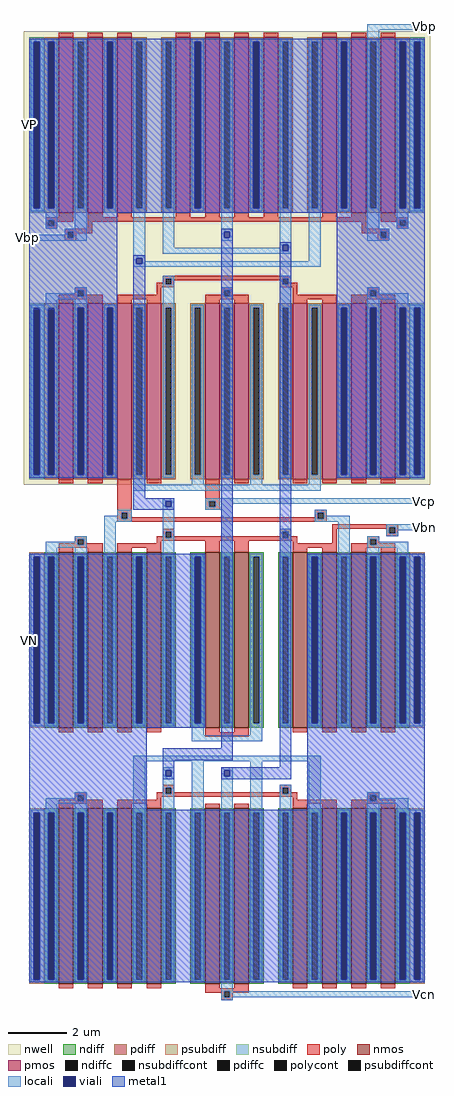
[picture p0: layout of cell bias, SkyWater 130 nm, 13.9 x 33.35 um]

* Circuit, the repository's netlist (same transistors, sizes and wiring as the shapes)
* SPICE3 file created from /home/madvlsi/Desktop/madvlsi/MP3/layout/bias.ext - technology: sky130A

.subckt home/madvlsi/Desktop/madvlsi/MP3/layout/bias VP VN Vcn Vbn Vcp Vbp
X0 a_600_1450# a_500_1420# VN VN sky130_fd_pr__nfet_01v8 ad=1.2e+13p pd=5.2e+07u as=4.2e+13p ps=1.82e+08u w=6e+06u l=500000u
X1 Vbn Vbn VN VN sky130_fd_pr__nfet_01v8 ad=6e+12p pd=2.6e+07u as=0p ps=0u w=6e+06u l=500000u
X2 a_600_4900# Vcp Vcp VP sky130_fd_pr__pfet_01v8 ad=1.2e+13p pd=5.2e+07u as=3e+12p ps=1.3e+07u w=6e+06u l=500000u
X3 VP VP VP VP sky130_fd_pr__pfet_01v8 ad=3.6e+13p pd=1.56e+08u as=0p ps=0u w=6e+06u l=500000u
X4 a_600_1450# a_500_1420# a_500_1420# VN sky130_fd_pr__nfet_01v8 ad=0p pd=0u as=6e+12p ps=2.6e+07u w=6e+06u l=500000u
X5 VP Vbp Vbp VP sky130_fd_pr__pfet_01v8 ad=0p pd=0u as=6e+12p ps=2.6e+07u w=6e+06u l=500000u
X6 a_400_3200# a_400_3200# a_600_4900# VP sky130_fd_pr__pfet_01v8 ad=6e+12p pd=2.6e+07u as=0p ps=0u w=6e+06u l=500000u
X7 a_400_3200# Vbn VN VN sky130_fd_pr__nfet_01v8 ad=6e+12p pd=2.6e+07u as=0p ps=0u w=6e+06u l=500000u
X8 Vcp Vbn VN VN sky130_fd_pr__nfet_01v8 ad=3e+12p pd=1.3e+07u as=0p ps=0u w=6e+06u l=500000u
X9 VN VN a_400_3200# VN sky130_fd_pr__nfet_01v8 ad=0p pd=0u as=0p ps=0u w=6e+06u l=500000u
X10 VN VN VN VN sky130_fd_pr__nfet_01v8 ad=0p pd=0u as=0p ps=0u w=6e+06u l=500000u
X11 Vcn Vbp VP VP sky130_fd_pr__pfet_01v8 ad=6e+12p pd=2.6e+07u as=0p ps=0u w=6e+06u l=500000u
X12 VP a_400_3200# a_600_4900# VP sky130_fd_pr__pfet_01v8 ad=0p pd=0u as=0p ps=0u w=6e+06u l=500000u
X13 Vcp Vcp a_600_4900# VP sky130_fd_pr__pfet_01v8 ad=0p pd=0u as=0p ps=0u w=6e+06u l=500000u
X14 VN Vbn a_400_3200# VN sky130_fd_pr__nfet_01v8 ad=0p pd=0u as=0p ps=0u w=6e+06u l=500000u
X15 VP VP VP VP sky130_fd_pr__pfet_01v8 ad=0p pd=0u as=0p ps=0u w=6e+06u l=500000u
X16 VP Vbp Vcn VP sky130_fd_pr__pfet_01v8 ad=0p pd=0u as=0p ps=0u w=6e+06u l=500000u
X17 Vbp VP VP VP sky130_fd_pr__pfet_01v8 ad=0p pd=0u as=0p ps=0u w=6e+06u l=500000u
X18 a_600_4900# a_400_3200# VP VP sky130_fd_pr__pfet_01v8 ad=0p pd=0u as=0p ps=0u w=6e+06u l=500000u
X19 VN Vbn Vbn VN sky130_fd_pr__nfet_01v8 ad=0p pd=0u as=0p ps=0u w=6e+06u l=500000u
X20 VP Vbp a_500_1420# VP sky130_fd_pr__pfet_01v8 ad=0p pd=0u as=3e+12p ps=1.3e+07u w=6e+06u l=500000u
X21 a_600_4900# a_400_3200# a_400_3200# VP sky130_fd_pr__pfet_01v8 ad=0p pd=0u as=0p ps=0u w=6e+06u l=500000u
X22 VN VN VN VN sky130_fd_pr__nfet_01v8 ad=0p pd=0u as=0p ps=0u w=6e+06u l=500000u
X23 a_400_3200# VN VN VN sky130_fd_pr__nfet_01v8 ad=0p pd=0u as=0p ps=0u w=6e+06u l=500000u
X24 VP VP Vbp VP sky130_fd_pr__pfet_01v8 ad=0p pd=0u as=0p ps=0u w=6e+06u l=500000u
X25 a_600_1450# Vcn Vcn VN sky130_fd_pr__nfet_01v8 ad=0p pd=0u as=3e+12p ps=1.3e+07u w=6e+06u l=500000u
X26 VP VP VP VP sky130_fd_pr__pfet_01v8 ad=0p pd=0u as=0p ps=0u w=6e+06u l=500000u
X27 VN VN VN VN sky130_fd_pr__nfet_01v8 ad=0p pd=0u as=0p ps=0u w=6e+06u l=500000u
X28 VP Vbp Vbn VP sky130_fd_pr__pfet_01v8 ad=0p pd=0u as=6e+12p ps=2.6e+07u w=6e+06u l=500000u
X29 a_500_1420# a_500_1420# a_600_1450# VN sky130_fd_pr__nfet_01v8 ad=0p pd=0u as=0p ps=0u w=6e+06u l=500000u
X30 a_500_1420# Vbp VP VP sky130_fd_pr__pfet_01v8 ad=0p pd=0u as=0p ps=0u w=6e+06u l=500000u
X31 VN VN VN VN sky130_fd_pr__nfet_01v8 ad=0p pd=0u as=0p ps=0u w=6e+06u l=500000u
X32 Vbp Vbp VP VP sky130_fd_pr__pfet_01v8 ad=0p pd=0u as=0p ps=0u w=6e+06u l=500000u
X33 VN a_500_1420# a_600_1450# VN sky130_fd_pr__nfet_01v8 ad=0p pd=0u as=0p ps=0u w=6e+06u l=500000u
X34 Vbn Vbp VP VP sky130_fd_pr__pfet_01v8 ad=0p pd=0u as=0p ps=0u w=6e+06u l=500000u
X35 Vcn Vcn a_600_1450# VN sky130_fd_pr__nfet_01v8 ad=0p pd=0u as=0p ps=0u w=6e+06u l=500000u
X36 VP VP VP VP sky130_fd_pr__pfet_01v8 ad=0p pd=0u as=0p ps=0u w=6e+06u l=500000u
X37 VN Vbn Vcp VN sky130_fd_pr__nfet_01v8 ad=0p pd=0u as=0p ps=0u w=6e+06u l=500000u
X38 VN VN VN VN sky130_fd_pr__nfet_01v8 ad=0p pd=0u as=0p ps=0u w=6e+06u l=500000u
X39 VN VN VN VN sky130_fd_pr__nfet_01v8 ad=0p pd=0u as=0p ps=0u w=6e+06u l=500000u
.ends

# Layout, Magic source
magic
tech sky130A
<< nwell >>
rect -70 2430 1320 3980
<< nmos >>
rect 50 1600 100 2200
rect 150 1600 200 2200
rect 250 1600 300 2200
rect 350 1600 400 2200
rect 550 1600 600 2200
rect 650 1600 700 2200
rect 850 1600 900 2200
rect 950 1600 1000 2200
rect 1050 1600 1100 2200
rect 1150 1600 1200 2200
rect 50 725 100 1325
rect 150 725 200 1325
rect 250 725 300 1325
rect 350 725 400 1325
rect 550 725 600 1325
rect 650 725 700 1325
rect 850 725 900 1325
rect 950 725 1000 1325
rect 1050 725 1100 1325
rect 1150 725 1200 1325
<< pmos >>
rect 50 3360 100 3960
rect 150 3360 200 3960
rect 250 3360 300 3960
rect 450 3360 500 3960
rect 550 3360 600 3960
rect 650 3360 700 3960
rect 750 3360 800 3960
rect 950 3360 1000 3960
rect 1050 3360 1100 3960
rect 1150 3360 1200 3960
rect 50 2450 100 3050
rect 150 2450 200 3050
rect 250 2450 300 3050
rect 350 2450 400 3050
rect 550 2450 600 3050
rect 650 2450 700 3050
rect 850 2450 900 3050
rect 950 2450 1000 3050
rect 1050 2450 1100 3050
rect 1150 2450 1200 3050
<< ndiff >>
rect 0 2185 50 2200
rect 0 1615 15 2185
rect 35 1615 50 2185
rect 0 1600 50 1615
rect 100 2185 150 2200
rect 100 1615 115 2185
rect 135 1615 150 2185
rect 100 1600 150 1615
rect 200 2185 250 2200
rect 200 1615 215 2185
rect 235 1615 250 2185
rect 200 1600 250 1615
rect 300 2185 350 2200
rect 300 1615 315 2185
rect 335 1615 350 2185
rect 300 1600 350 1615
rect 400 2185 450 2200
rect 400 1615 415 2185
rect 435 1615 450 2185
rect 400 1600 450 1615
rect 500 2185 550 2200
rect 500 1615 515 2185
rect 535 1615 550 2185
rect 500 1600 550 1615
rect 600 2185 650 2200
rect 600 1615 615 2185
rect 635 1615 650 2185
rect 600 1600 650 1615
rect 700 2185 750 2200
rect 700 1615 715 2185
rect 735 1615 750 2185
rect 700 1600 750 1615
rect 800 2185 850 2200
rect 800 1615 815 2185
rect 835 1615 850 2185
rect 800 1600 850 1615
rect 900 2185 950 2200
rect 900 1615 915 2185
rect 935 1615 950 2185
rect 900 1600 950 1615
rect 1000 2185 1050 2200
rect 1000 1615 1015 2185
rect 1035 1615 1050 2185
rect 1000 1600 1050 1615
rect 1100 2185 1150 2200
rect 1100 1615 1115 2185
rect 1135 1615 1150 2185
rect 1100 1600 1150 1615
rect 1200 2185 1250 2200
rect 1200 1615 1215 2185
rect 1235 1615 1250 2185
rect 1200 1600 1250 1615
rect 0 1310 50 1325
rect 0 740 15 1310
rect 35 740 50 1310
rect 0 725 50 740
rect 100 1310 150 1325
rect 100 740 115 1310
rect 135 740 150 1310
rect 100 725 150 740
rect 200 1310 250 1325
rect 200 740 215 1310
rect 235 740 250 1310
rect 200 725 250 740
rect 300 1310 350 1325
rect 300 740 315 1310
rect 335 740 350 1310
rect 300 725 350 740
rect 400 1310 450 1325
rect 400 740 415 1310
rect 435 740 450 1310
rect 400 725 450 740
rect 500 1310 550 1325
rect 500 740 515 1310
rect 535 740 550 1310
rect 500 725 550 740
rect 600 1310 650 1325
rect 600 740 615 1310
rect 635 740 650 1310
rect 600 725 650 740
rect 700 1310 750 1325
rect 700 740 715 1310
rect 735 740 750 1310
rect 700 725 750 740
rect 800 1310 850 1325
rect 800 740 815 1310
rect 835 740 850 1310
rect 800 725 850 740
rect 900 1310 950 1325
rect 900 740 915 1310
rect 935 740 950 1310
rect 900 725 950 740
rect 1000 1310 1050 1325
rect 1000 740 1015 1310
rect 1035 740 1050 1310
rect 1000 725 1050 740
rect 1100 1310 1150 1325
rect 1100 740 1115 1310
rect 1135 740 1150 1310
rect 1100 725 1150 740
rect 1200 1310 1250 1325
rect 1200 740 1215 1310
rect 1235 740 1250 1310
rect 1200 725 1250 740
<< pdiff >>
rect 0 3945 50 3960
rect 0 3375 15 3945
rect 35 3375 50 3945
rect 0 3360 50 3375
rect 100 3945 150 3960
rect 100 3375 115 3945
rect 135 3375 150 3945
rect 100 3360 150 3375
rect 200 3945 250 3960
rect 200 3375 215 3945
rect 235 3375 250 3945
rect 200 3360 250 3375
rect 300 3945 350 3960
rect 300 3375 315 3945
rect 335 3375 350 3945
rect 300 3360 350 3375
rect 400 3945 450 3960
rect 400 3375 415 3945
rect 435 3375 450 3945
rect 400 3360 450 3375
rect 500 3945 550 3960
rect 500 3375 515 3945
rect 535 3375 550 3945
rect 500 3360 550 3375
rect 600 3945 650 3960
rect 600 3375 615 3945
rect 635 3375 650 3945
rect 600 3360 650 3375
rect 700 3945 750 3960
rect 700 3375 715 3945
rect 735 3375 750 3945
rect 700 3360 750 3375
rect 800 3945 850 3960
rect 800 3375 815 3945
rect 835 3375 850 3945
rect 800 3360 850 3375
rect 900 3945 950 3960
rect 900 3375 915 3945
rect 935 3375 950 3945
rect 900 3360 950 3375
rect 1000 3945 1050 3960
rect 1000 3375 1015 3945
rect 1035 3375 1050 3945
rect 1000 3360 1050 3375
rect 1100 3945 1150 3960
rect 1100 3375 1115 3945
rect 1135 3375 1150 3945
rect 1100 3360 1150 3375
rect 1200 3945 1250 3960
rect 1200 3375 1215 3945
rect 1235 3375 1250 3945
rect 1200 3360 1250 3375
rect 0 3035 50 3050
rect 0 2465 15 3035
rect 35 2465 50 3035
rect 0 2450 50 2465
rect 100 3035 150 3050
rect 100 2465 115 3035
rect 135 2465 150 3035
rect 100 2450 150 2465
rect 200 3035 250 3050
rect 200 2465 215 3035
rect 235 2465 250 3035
rect 200 2450 250 2465
rect 300 3035 350 3050
rect 300 2465 315 3035
rect 335 2465 350 3035
rect 300 2450 350 2465
rect 400 3035 450 3050
rect 400 2465 415 3035
rect 435 2465 450 3035
rect 400 2450 450 2465
rect 500 3035 550 3050
rect 500 2465 515 3035
rect 535 2465 550 3035
rect 500 2450 550 2465
rect 600 3035 650 3050
rect 600 2465 615 3035
rect 635 2465 650 3035
rect 600 2450 650 2465
rect 700 3035 750 3050
rect 700 2465 715 3035
rect 735 2465 750 3035
rect 700 2450 750 2465
rect 800 3035 850 3050
rect 800 2465 815 3035
rect 835 2465 850 3035
rect 800 2450 850 2465
rect 900 3035 950 3050
rect 900 2465 915 3035
rect 935 2465 950 3035
rect 900 2450 950 2465
rect 1000 3035 1050 3050
rect 1000 2465 1015 3035
rect 1035 2465 1050 3035
rect 1000 2450 1050 2465
rect 1100 3035 1150 3050
rect 1100 2465 1115 3035
rect 1135 2465 1150 3035
rect 1100 2450 1150 2465
rect 1200 3035 1250 3050
rect 1200 2465 1215 3035
rect 1235 2465 1250 3035
rect 1200 2450 1250 2465
<< ndiffc >>
rect 15 1615 35 2185
rect 115 1615 135 2185
rect 215 1615 235 2185
rect 315 1615 335 2185
rect 415 1615 435 2185
rect 515 1615 535 2185
rect 615 1615 635 2185
rect 715 1615 735 2185
rect 815 1615 835 2185
rect 915 1615 935 2185
rect 1015 1615 1035 2185
rect 1115 1615 1135 2185
rect 1215 1615 1235 2185
rect 15 740 35 1310
rect 115 740 135 1310
rect 215 740 235 1310
rect 315 740 335 1310
rect 415 740 435 1310
rect 515 740 535 1310
rect 615 740 635 1310
rect 715 740 735 1310
rect 815 740 835 1310
rect 915 740 935 1310
rect 1015 740 1035 1310
rect 1115 740 1135 1310
rect 1215 740 1235 1310
<< pdiffc >>
rect 15 3375 35 3945
rect 115 3375 135 3945
rect 215 3375 235 3945
rect 315 3375 335 3945
rect 415 3375 435 3945
rect 515 3375 535 3945
rect 615 3375 635 3945
rect 715 3375 735 3945
rect 815 3375 835 3945
rect 915 3375 935 3945
rect 1015 3375 1035 3945
rect 1115 3375 1135 3945
rect 1215 3375 1235 3945
rect 15 2465 35 3035
rect 115 2465 135 3035
rect 215 2465 235 3035
rect 315 2465 335 3035
rect 415 2465 435 3035
rect 515 2465 535 3035
rect 615 2465 635 3035
rect 715 2465 735 3035
rect 815 2465 835 3035
rect 915 2465 935 3035
rect 1015 2465 1035 3035
rect 1115 2465 1135 3035
rect 1215 2465 1235 3035
<< psubdiff >>
rect -50 2185 0 2200
rect -50 1615 -35 2185
rect -15 1615 0 2185
rect -50 1600 0 1615
rect 1250 2185 1300 2200
rect 1250 1615 1265 2185
rect 1285 1615 1300 2185
rect 1250 1600 1300 1615
rect -50 1310 0 1325
rect -50 740 -35 1310
rect -15 740 0 1310
rect -50 725 0 740
rect 1250 1310 1300 1325
rect 1250 740 1265 1310
rect 1285 740 1300 1310
rect 1250 725 1300 740
<< nsubdiff >>
rect -50 3945 0 3960
rect -50 3375 -35 3945
rect -15 3375 0 3945
rect -50 3360 0 3375
rect 1250 3945 1300 3960
rect 1250 3375 1265 3945
rect 1285 3375 1300 3945
rect 1250 3360 1300 3375
rect -50 3035 0 3050
rect -50 2465 -35 3035
rect -15 2465 0 3035
rect -50 2450 0 2465
rect 1250 3035 1300 3050
rect 1250 2465 1265 3035
rect 1285 2465 1300 3035
rect 1250 2450 1300 2465
<< psubdiffcont >>
rect -35 1615 -15 2185
rect 1265 1615 1285 2185
rect -35 740 -15 1310
rect 1265 740 1285 1310
<< nsubdiffcont >>
rect -35 3375 -15 3945
rect 1265 3375 1285 3945
rect -35 2465 -15 3035
rect 1265 2465 1285 3035
<< poly >>
rect 50 3960 100 3975
rect 150 3960 200 3975
rect 250 3960 300 3975
rect 450 3960 500 3975
rect 550 3960 600 3975
rect 650 3960 700 3975
rect 750 3960 800 3975
rect 950 3960 1000 3975
rect 1050 3960 1100 3975
rect 1150 3960 1200 3975
rect 50 3345 100 3360
rect 5 3335 100 3345
rect 5 3315 15 3335
rect 35 3330 100 3335
rect 150 3345 200 3360
rect 250 3345 300 3360
rect 450 3345 500 3360
rect 550 3345 600 3360
rect 650 3345 700 3360
rect 750 3345 800 3360
rect 950 3345 1000 3360
rect 1050 3345 1100 3360
rect 150 3330 1100 3345
rect 1150 3345 1200 3360
rect 1150 3335 1245 3345
rect 1150 3330 1215 3335
rect 35 3315 45 3330
rect 5 3305 45 3315
rect 150 3305 165 3330
rect 70 3295 165 3305
rect 70 3275 80 3295
rect 100 3290 165 3295
rect 1085 3305 1100 3330
rect 1205 3315 1215 3330
rect 1235 3315 1245 3335
rect 1205 3305 1245 3315
rect 1085 3295 1180 3305
rect 1085 3290 1150 3295
rect 100 3275 110 3290
rect 70 3265 110 3275
rect 1140 3275 1150 3290
rect 1170 3275 1180 3295
rect 1140 3265 1180 3275
rect 405 3135 845 3145
rect 405 3120 415 3135
rect 385 3115 415 3120
rect 435 3130 815 3135
rect 435 3115 445 3130
rect 385 3105 445 3115
rect 805 3115 815 3130
rect 835 3120 845 3135
rect 835 3115 865 3120
rect 805 3105 865 3115
rect 105 3095 145 3105
rect 105 3080 115 3095
rect 50 3075 115 3080
rect 135 3080 145 3095
rect 385 3080 400 3105
rect 605 3095 645 3105
rect 605 3080 615 3095
rect 135 3075 200 3080
rect 50 3065 200 3075
rect 50 3050 100 3065
rect 150 3050 200 3065
rect 250 3065 400 3080
rect 250 3050 300 3065
rect 350 3050 400 3065
rect 550 3075 615 3080
rect 635 3080 645 3095
rect 850 3080 865 3105
rect 1105 3095 1145 3105
rect 1105 3080 1115 3095
rect 635 3075 700 3080
rect 550 3065 700 3075
rect 550 3050 600 3065
rect 650 3050 700 3065
rect 850 3065 1000 3080
rect 850 3050 900 3065
rect 950 3050 1000 3065
rect 1050 3075 1115 3080
rect 1135 3080 1145 3095
rect 1135 3075 1200 3080
rect 1050 3065 1200 3075
rect 1050 3050 1100 3065
rect 1150 3050 1200 3065
rect 50 2435 100 2450
rect 150 2435 200 2450
rect 250 2335 300 2450
rect 350 2435 400 2450
rect 550 2375 600 2450
rect 650 2435 700 2450
rect 850 2435 900 2450
rect 950 2435 1000 2450
rect 1050 2435 1100 2450
rect 1150 2435 1200 2450
rect 550 2355 565 2375
rect 585 2355 600 2375
rect 550 2345 600 2355
rect 250 2315 265 2335
rect 285 2320 300 2335
rect 925 2335 965 2345
rect 925 2320 935 2335
rect 285 2315 935 2320
rect 955 2315 965 2335
rect 250 2305 965 2315
rect 985 2285 1210 2295
rect 985 2280 1180 2285
rect 405 2270 445 2280
rect 405 2255 415 2270
rect 105 2245 145 2255
rect 105 2230 115 2245
rect 50 2225 115 2230
rect 135 2230 145 2245
rect 385 2250 415 2255
rect 435 2255 445 2270
rect 805 2270 845 2280
rect 805 2255 815 2270
rect 435 2250 815 2255
rect 835 2255 845 2270
rect 835 2250 865 2255
rect 385 2240 865 2250
rect 385 2230 400 2240
rect 135 2225 200 2230
rect 50 2215 200 2225
rect 50 2200 100 2215
rect 150 2200 200 2215
rect 250 2215 400 2230
rect 250 2200 300 2215
rect 350 2200 400 2215
rect 550 2200 600 2240
rect 650 2200 700 2240
rect 850 2230 865 2240
rect 985 2230 1000 2280
rect 1170 2265 1180 2280
rect 1200 2265 1210 2285
rect 1170 2255 1210 2265
rect 1105 2245 1145 2255
rect 1105 2230 1115 2245
rect 850 2215 1000 2230
rect 850 2200 900 2215
rect 950 2200 1000 2215
rect 1050 2225 1115 2230
rect 1135 2230 1145 2245
rect 1135 2225 1200 2230
rect 1050 2215 1200 2225
rect 1050 2200 1100 2215
rect 1150 2200 1200 2215
rect 50 1585 100 1600
rect 150 1585 200 1600
rect 250 1585 300 1600
rect 350 1585 400 1600
rect 550 1585 600 1600
rect 650 1585 700 1600
rect 850 1585 900 1600
rect 950 1585 1000 1600
rect 1050 1585 1100 1600
rect 1150 1585 1200 1600
rect 550 1570 700 1585
rect 405 1395 445 1405
rect 405 1380 415 1395
rect 105 1370 145 1380
rect 105 1355 115 1370
rect 50 1350 115 1355
rect 135 1355 145 1370
rect 385 1375 415 1380
rect 435 1380 445 1395
rect 805 1395 845 1405
rect 805 1380 815 1395
rect 435 1375 815 1380
rect 835 1380 845 1395
rect 835 1375 865 1380
rect 385 1365 865 1375
rect 385 1355 400 1365
rect 135 1350 200 1355
rect 50 1340 200 1350
rect 50 1325 100 1340
rect 150 1325 200 1340
rect 250 1340 400 1355
rect 850 1355 865 1365
rect 1105 1370 1145 1380
rect 1105 1355 1115 1370
rect 850 1340 1000 1355
rect 250 1325 300 1340
rect 350 1325 400 1340
rect 550 1325 600 1340
rect 650 1325 700 1340
rect 850 1325 900 1340
rect 950 1325 1000 1340
rect 1050 1350 1115 1355
rect 1135 1355 1145 1370
rect 1135 1350 1200 1355
rect 1050 1340 1200 1350
rect 1050 1325 1100 1340
rect 1150 1325 1200 1340
rect 50 710 100 725
rect 150 710 200 725
rect 250 710 300 725
rect 350 710 400 725
rect 550 710 600 725
rect 650 710 700 725
rect 850 710 900 725
rect 950 710 1000 725
rect 1050 710 1100 725
rect 1150 710 1200 725
rect 550 700 700 710
rect 550 695 615 700
rect 605 680 615 695
rect 635 695 700 700
rect 635 680 645 695
rect 605 670 645 680
<< polycont >>
rect 15 3315 35 3335
rect 80 3275 100 3295
rect 1215 3315 1235 3335
rect 1150 3275 1170 3295
rect 415 3115 435 3135
rect 815 3115 835 3135
rect 115 3075 135 3095
rect 615 3075 635 3095
rect 1115 3075 1135 3095
rect 565 2355 585 2375
rect 265 2315 285 2335
rect 935 2315 955 2335
rect 115 2225 135 2245
rect 415 2250 435 2270
rect 815 2250 835 2270
rect 1180 2265 1200 2285
rect 1115 2225 1135 2245
rect 115 1350 135 1370
rect 415 1375 435 1395
rect 815 1375 835 1395
rect 1115 1350 1135 1370
rect 615 680 635 700
<< locali >>
rect 1105 3985 1300 4005
rect -45 3945 45 3955
rect -45 3375 -35 3945
rect -15 3375 15 3945
rect 35 3375 45 3945
rect -45 3365 45 3375
rect 5 3335 45 3365
rect 5 3315 15 3335
rect 35 3315 45 3335
rect 5 3305 45 3315
rect 105 3945 145 3955
rect 105 3375 115 3945
rect 135 3375 145 3945
rect 105 3305 145 3375
rect 205 3945 245 3955
rect 205 3375 215 3945
rect 235 3375 245 3945
rect 205 3360 245 3375
rect 305 3945 345 3955
rect 305 3375 315 3945
rect 335 3375 345 3945
rect 70 3295 145 3305
rect 70 3285 80 3295
rect -55 3275 80 3285
rect 100 3275 145 3295
rect -55 3265 145 3275
rect 305 3205 345 3375
rect 405 3945 445 3955
rect 405 3375 415 3945
rect 435 3375 445 3945
rect 405 3240 445 3375
rect 505 3945 545 3955
rect 505 3375 515 3945
rect 535 3375 545 3945
rect 505 3365 545 3375
rect 605 3945 645 3955
rect 605 3375 615 3945
rect 635 3375 645 3945
rect 605 3295 645 3375
rect 705 3945 745 3955
rect 705 3375 715 3945
rect 735 3375 745 3945
rect 705 3365 745 3375
rect 805 3945 845 3955
rect 805 3375 815 3945
rect 835 3375 845 3945
rect 605 3275 615 3295
rect 635 3275 645 3295
rect 605 3265 645 3275
rect 805 3250 845 3375
rect 805 3240 815 3250
rect 405 3230 815 3240
rect 835 3230 845 3250
rect 405 3220 845 3230
rect 905 3945 945 3955
rect 905 3375 915 3945
rect 935 3375 945 3945
rect 305 3185 315 3205
rect 335 3195 345 3205
rect 905 3195 945 3375
rect 1005 3945 1045 3955
rect 1005 3375 1015 3945
rect 1035 3375 1045 3945
rect 1005 3365 1045 3375
rect 1105 3945 1145 3985
rect 1105 3375 1115 3945
rect 1135 3375 1145 3945
rect 1105 3305 1145 3375
rect 1205 3945 1295 3955
rect 1205 3375 1215 3945
rect 1235 3375 1265 3945
rect 1285 3375 1295 3945
rect 1205 3365 1295 3375
rect 1205 3335 1245 3365
rect 1205 3315 1215 3335
rect 1235 3315 1245 3335
rect 1205 3305 1245 3315
rect 1105 3295 1180 3305
rect 1105 3275 1150 3295
rect 1170 3275 1180 3295
rect 1105 3265 1180 3275
rect 335 3185 945 3195
rect 305 3175 945 3185
rect 405 3135 445 3145
rect 405 3115 415 3135
rect 435 3115 445 3135
rect 105 3095 145 3105
rect 105 3085 115 3095
rect 5 3075 115 3085
rect 135 3075 145 3095
rect 5 3065 145 3075
rect 5 3045 45 3065
rect -45 3035 45 3045
rect -45 2465 -35 3035
rect -15 2465 15 3035
rect 35 2465 45 3035
rect -45 2455 45 2465
rect 105 3035 145 3065
rect 105 2465 115 3035
rect 135 2465 145 3035
rect 105 2455 145 2465
rect 205 3035 245 3045
rect 205 2465 215 3035
rect 235 2465 245 3035
rect 205 2455 245 2465
rect 305 3035 345 3045
rect 305 2465 315 3035
rect 335 2465 345 3035
rect 305 2430 345 2465
rect 405 3035 445 3115
rect 805 3135 845 3145
rect 805 3115 815 3135
rect 835 3115 845 3135
rect 605 3095 645 3105
rect 605 3075 615 3095
rect 635 3075 645 3095
rect 405 2465 415 3035
rect 435 2465 445 3035
rect 405 2455 445 2465
rect 505 3035 545 3045
rect 505 2465 515 3035
rect 535 2465 545 3035
rect 505 2430 545 2465
rect 605 3035 645 3075
rect 605 2465 615 3035
rect 635 2465 645 3035
rect 605 2455 645 2465
rect 705 3035 745 3045
rect 705 2465 715 3035
rect 735 2465 745 3035
rect 705 2430 745 2465
rect 805 3035 845 3115
rect 1105 3095 1145 3105
rect 1105 3075 1115 3095
rect 1135 3085 1145 3095
rect 1135 3075 1245 3085
rect 1105 3065 1245 3075
rect 805 2465 815 3035
rect 835 2465 845 3035
rect 805 2455 845 2465
rect 905 3035 945 3045
rect 905 2465 915 3035
rect 935 2465 945 3035
rect 905 2430 945 2465
rect 1005 3035 1045 3045
rect 1005 2465 1015 3035
rect 1035 2465 1045 3035
rect 1005 2455 1045 2465
rect 1105 3035 1145 3065
rect 1105 2465 1115 3035
rect 1135 2465 1145 3035
rect 1105 2455 1145 2465
rect 1205 3045 1245 3065
rect 1205 3035 1295 3045
rect 1205 2465 1215 3035
rect 1235 2465 1265 3035
rect 1285 2465 1295 3035
rect 1205 2455 1295 2465
rect 305 2410 945 2430
rect 405 2375 445 2385
rect 405 2355 415 2375
rect 435 2355 445 2375
rect 250 2335 300 2345
rect 250 2325 265 2335
rect 205 2315 265 2325
rect 285 2315 300 2335
rect 205 2305 300 2315
rect 105 2245 145 2255
rect 105 2235 115 2245
rect 5 2225 115 2235
rect 135 2225 145 2245
rect 5 2215 145 2225
rect 5 2195 45 2215
rect -45 2185 45 2195
rect -45 1615 -35 2185
rect -15 1615 15 2185
rect 35 1615 45 2185
rect -45 1605 45 1615
rect 105 2185 145 2215
rect 105 1615 115 2185
rect 135 1615 145 2185
rect 105 1605 145 1615
rect 205 2185 245 2305
rect 405 2270 445 2355
rect 550 2375 1300 2385
rect 550 2355 565 2375
rect 585 2365 1300 2375
rect 585 2355 645 2365
rect 550 2345 645 2355
rect 405 2250 415 2270
rect 435 2250 445 2270
rect 205 1615 215 2185
rect 235 1615 245 2185
rect 205 1605 245 1615
rect 305 2185 345 2195
rect 305 1615 315 2185
rect 335 1615 345 2185
rect 305 1605 345 1615
rect 405 2185 445 2250
rect 405 1615 415 2185
rect 435 1615 445 2185
rect 405 1605 445 1615
rect 505 2185 545 2195
rect 505 1615 515 2185
rect 535 1615 545 2185
rect 505 1575 545 1615
rect 605 2185 645 2345
rect 925 2335 965 2345
rect 925 2315 935 2335
rect 955 2325 965 2335
rect 955 2315 1045 2325
rect 925 2305 1045 2315
rect 805 2270 845 2280
rect 805 2250 815 2270
rect 835 2250 845 2270
rect 605 1615 615 2185
rect 635 1615 645 2185
rect 605 1605 645 1615
rect 705 2185 745 2195
rect 705 1615 715 2185
rect 735 1615 745 2185
rect 705 1575 745 1615
rect 805 2185 845 2250
rect 805 1615 815 2185
rect 835 1615 845 2185
rect 805 1605 845 1615
rect 905 2185 945 2195
rect 905 1615 915 2185
rect 935 1615 945 2185
rect 905 1605 945 1615
rect 1005 2185 1045 2305
rect 1170 2285 1300 2295
rect 1170 2265 1180 2285
rect 1200 2275 1300 2285
rect 1200 2265 1210 2275
rect 1170 2255 1210 2265
rect 1005 1615 1015 2185
rect 1035 1615 1045 2185
rect 1005 1605 1045 1615
rect 1105 2245 1145 2255
rect 1105 2225 1115 2245
rect 1135 2235 1145 2245
rect 1135 2225 1245 2235
rect 1105 2215 1245 2225
rect 1105 2185 1145 2215
rect 1105 1615 1115 2185
rect 1135 1615 1145 2185
rect 1105 1605 1145 1615
rect 1205 2195 1245 2215
rect 1205 2185 1295 2195
rect 1205 1615 1215 2185
rect 1235 1615 1265 2185
rect 1285 1615 1295 2185
rect 1205 1605 1295 1615
rect 505 1555 745 1575
rect 305 1485 945 1505
rect 105 1370 145 1380
rect 105 1360 115 1370
rect 5 1350 115 1360
rect 135 1350 145 1370
rect 5 1340 145 1350
rect 5 1320 45 1340
rect -45 1310 45 1320
rect -45 740 -35 1310
rect -15 740 15 1310
rect 35 740 45 1310
rect -45 730 45 740
rect 105 1310 145 1340
rect 105 740 115 1310
rect 135 740 145 1310
rect 105 730 145 740
rect 205 1310 245 1320
rect 205 740 215 1310
rect 235 740 245 1310
rect 205 730 245 740
rect 305 1310 345 1485
rect 305 740 315 1310
rect 335 740 345 1310
rect 305 730 345 740
rect 405 1455 445 1465
rect 405 1435 415 1455
rect 435 1435 445 1455
rect 405 1395 445 1435
rect 405 1375 415 1395
rect 435 1375 445 1395
rect 405 1310 445 1375
rect 405 740 415 1310
rect 435 740 445 1310
rect 405 730 445 740
rect 505 1310 545 1485
rect 505 740 515 1310
rect 535 740 545 1310
rect 505 730 545 740
rect 605 1455 645 1465
rect 605 1435 615 1455
rect 635 1435 645 1455
rect 605 1310 645 1435
rect 605 740 615 1310
rect 635 740 645 1310
rect 605 700 645 740
rect 705 1310 745 1485
rect 705 740 715 1310
rect 735 740 745 1310
rect 705 730 745 740
rect 805 1395 845 1405
rect 805 1375 815 1395
rect 835 1375 845 1395
rect 805 1310 845 1375
rect 805 740 815 1310
rect 835 740 845 1310
rect 805 730 845 740
rect 905 1310 945 1485
rect 1105 1370 1145 1380
rect 1105 1350 1115 1370
rect 1135 1360 1145 1370
rect 1135 1350 1245 1360
rect 1105 1340 1245 1350
rect 905 740 915 1310
rect 935 740 945 1310
rect 905 730 945 740
rect 1005 1310 1045 1320
rect 1005 740 1015 1310
rect 1035 740 1045 1310
rect 1005 730 1045 740
rect 1105 1310 1145 1340
rect 1105 740 1115 1310
rect 1135 740 1145 1310
rect 1105 730 1145 740
rect 1205 1320 1245 1340
rect 1205 1310 1295 1320
rect 1205 740 1215 1310
rect 1235 740 1265 1310
rect 1285 740 1295 1310
rect 1205 730 1295 740
rect 605 680 615 700
rect 635 680 1300 700
rect 605 670 645 680
<< viali >>
rect -35 3375 -15 3945
rect 15 3375 35 3945
rect 215 3375 235 3945
rect 515 3375 535 3945
rect 715 3375 735 3945
rect 615 3275 635 3295
rect 815 3230 835 3250
rect 315 3185 335 3205
rect 1015 3375 1035 3945
rect 1215 3375 1235 3945
rect 1265 3375 1285 3945
rect -35 2465 -15 3030
rect 15 2465 35 3030
rect 115 2465 135 3035
rect 215 2465 235 3035
rect 1015 2465 1035 3035
rect 1115 2465 1135 3035
rect 1215 2465 1235 3035
rect 1265 2465 1285 3035
rect 415 2355 435 2375
rect -35 1615 -15 2185
rect 15 1615 35 2185
rect 115 1615 135 2185
rect 315 1615 335 2185
rect 515 1615 535 2185
rect 915 1615 935 2185
rect 1115 1615 1135 2185
rect 1215 1615 1235 2185
rect 1265 1615 1285 2185
rect -35 740 -15 1310
rect 15 740 35 1310
rect 115 740 135 1310
rect 215 740 235 1310
rect 415 1435 435 1455
rect 615 1435 635 1455
rect 1015 740 1035 1310
rect 1115 740 1135 1310
rect 1215 740 1235 1310
rect 1265 740 1285 1310
<< metal1 >>
rect -50 3945 1300 3955
rect -50 3375 -35 3945
rect -15 3375 15 3945
rect 35 3375 215 3945
rect 235 3375 515 3945
rect 535 3375 715 3945
rect 735 3375 1015 3945
rect 1035 3375 1215 3945
rect 1235 3375 1265 3945
rect 1285 3375 1300 3945
rect -50 3360 1300 3375
rect -50 3035 250 3360
rect 605 3295 645 3305
rect 605 3275 615 3295
rect 635 3275 645 3295
rect -50 3030 115 3035
rect -50 2465 -35 3030
rect -15 2465 15 3030
rect 35 2465 115 3030
rect 135 2465 215 3035
rect 235 2465 250 3035
rect -50 2455 250 2465
rect 305 3205 345 3215
rect 305 3185 315 3205
rect 335 3185 345 3205
rect 305 2385 345 3185
rect 305 2375 445 2385
rect 305 2355 415 2375
rect 435 2355 445 2375
rect 305 2345 445 2355
rect -50 2185 550 2195
rect -50 1615 -35 2185
rect -15 1615 15 2185
rect 35 1615 115 2185
rect 135 1615 315 2185
rect 335 1615 515 2185
rect 535 1615 550 2185
rect -50 1600 550 1615
rect -50 1320 350 1600
rect 605 1530 645 3275
rect 405 1490 645 1530
rect 805 3250 845 3260
rect 805 3230 815 3250
rect 835 3230 845 3250
rect 405 1455 445 1490
rect 805 1465 845 3230
rect 1000 3035 1300 3360
rect 1000 2465 1015 3035
rect 1035 2465 1115 3035
rect 1135 2465 1215 3035
rect 1235 2465 1265 3035
rect 1285 2465 1300 3035
rect 1000 2455 1300 2465
rect 405 1435 415 1455
rect 435 1435 445 1455
rect 405 1425 445 1435
rect 605 1455 845 1465
rect 605 1435 615 1455
rect 635 1435 845 1455
rect 605 1425 845 1435
rect 900 2185 1300 2195
rect 900 1615 915 2185
rect 935 1615 1115 2185
rect 1135 1615 1215 2185
rect 1235 1615 1265 2185
rect 1285 1615 1300 2185
rect 900 1320 1300 1615
rect -50 1310 1300 1320
rect -50 740 -35 1310
rect -15 740 15 1310
rect 35 740 115 1310
rect 135 740 215 1310
rect 235 740 1015 1310
rect 1035 740 1115 1310
rect 1135 740 1215 1310
rect 1235 740 1265 1310
rect 1285 740 1300 1310
rect -50 730 1300 740
<< labels >>
rlabel metal1 -50 3660 -50 3660 7 VP
port 1 w
rlabel metal1 -50 1900 -50 1900 7 VN
port 3 w
rlabel locali 1300 690 1300 690 3 Vcn
port 4 e
rlabel locali 1300 2285 1300 2285 3 Vbn
port 5 e
rlabel locali 1300 2375 1300 2375 3 Vcp
port 6 e
rlabel locali 1300 3995 1300 3995 3 Vbp
port 7 e
rlabel locali -55 3275 -55 3275 7 Vbp
port 2 w
<< end >>
